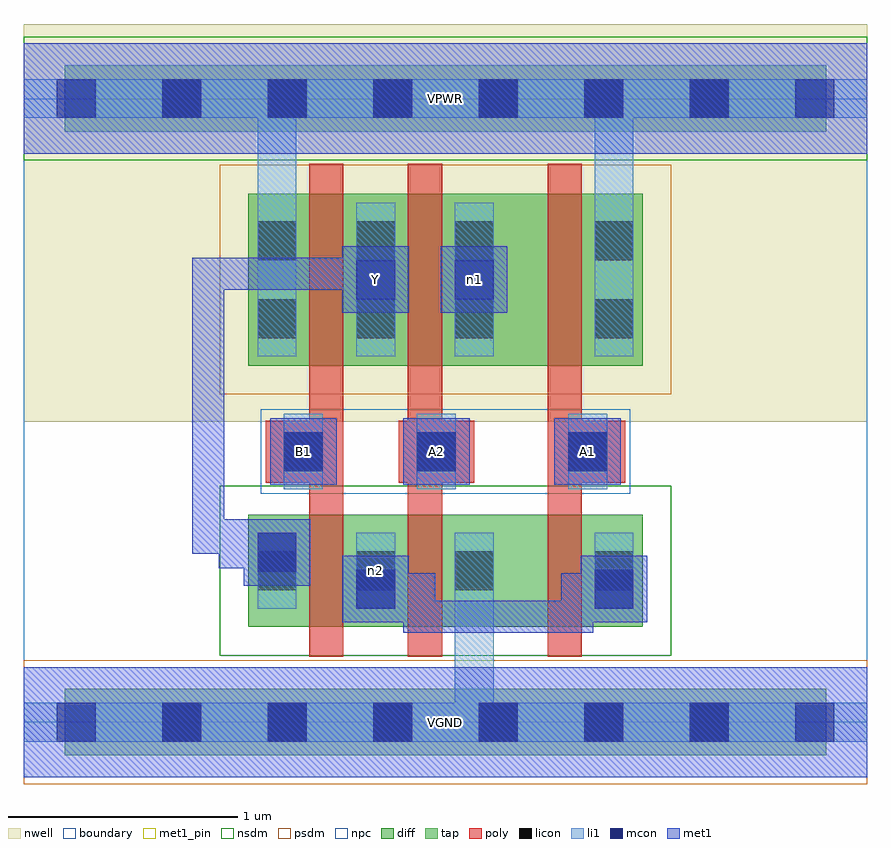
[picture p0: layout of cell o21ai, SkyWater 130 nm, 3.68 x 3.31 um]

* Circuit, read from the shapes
.subckt o21ai A1 A2 B1 VGND VPWR Y n1 n2
XM1 n2 B1 Y VGND sky130_fd_pr__nfet_01v8 w=0.49 l=0.15
XM2 VGND A2 n2 VGND sky130_fd_pr__nfet_01v8 w=0.49 l=0.15
XM3 n2 A1 VGND VGND sky130_fd_pr__nfet_01v8 w=0.49 l=0.15
XM4 Y B1 VPWR VPWR sky130_fd_pr__pfet_01v8 w=0.75 l=0.15
XM5 n1 A2 Y VPWR sky130_fd_pr__pfet_01v8 w=0.75 l=0.15
XM6 VPWR A1 n1 VPWR sky130_fd_pr__pfet_01v8 w=0.75 l=0.15
.ends

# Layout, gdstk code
import gdstk
lib = gdstk.Library(unit=1e-6, precision=1e-09)
def R(c, l, rs):  # rectangles x0, y0, x1, y1
    for r in rs: c.add(gdstk.rectangle(r[:2], r[2:], *l))
def A(c, l, x, y, w, h, nx, ny, dx, dy):  # array of equal rectangles
    R(c, l, [(x+i*dx, y+j*dy, x+i*dx+w, y+j*dy+h) for i in range(nx) for j in range(ny)])
nwell = (64, 20)
diff = (65, 20)
tap = (65, 44)
poly = (66, 20)
licon = (66, 44)
li1 = (67, 20)
mcon = (67, 44)
met1_pin = (68, 16)
met1 = (68, 20)
nsdm = (93, 44)
psdm = (94, 20)
npc = (95, 20)
boundary = (235, 4)

o21ai = lib.new_cell('o21ai')
R(o21ai, nwell, [(0,1.31,3.68,3.045)])
R(o21ai, diff, [(0.98,0.415,2.7,0.905), (0.98,1.555,2.7,2.305)])
R(o21ai, tap, [(0.18,-0.145,3.5,0.145), (0.18,2.575,3.5,2.865)])
R(o21ai, poly, [(1.245,0.285,1.395,2.435), (1.675,0.285,1.825,2.435), (2.285,0.285,2.435,2.435), (1.055,1.045,1.385,1.315), (1.635,1.045,1.965,1.315), (2.295,1.045,2.625,1.315)])
A(o21ai, licon, 0.605, -0.085, 0.17, 0.17, 6, 2, 0.46, 2.72)
A(o21ai, licon, 1.02, 0.575, 0.17, 0.17, 3, 2, 0.43, 1.1)
A(o21ai, licon, 1.02, 2.015, 0.17, 0.17, 3, 1, 0.43, 0)
R(o21ai, licon, [(2.49,0.575,2.66,0.745), (1.135,1.095,1.305,1.265), (1.715,1.095,1.885,1.265), (2.375,1.095,2.545,1.265), (2.49,1.675,2.66,1.845), (2.49,2.015,2.66,2.185)])
A(o21ai, li1, 1.02, 0.495, 0.17, 0.33, 3, 1, 0.43, 0)
A(o21ai, li1, 1.02, 1.595, 0.17, 0.67, 3, 1, 0.43, 0)
R(o21ai, li1, [(0,-0.085,3.68,0.085), (1.88,-0.085,2.05,0.825), (2.49,0.495,2.66,0.825), (1.135,1.015,1.305,1.345), (1.715,1.015,1.885,1.345), (2.375,1.015,2.545,1.345), (1.02,1.595,1.19,2.805), (2.49,1.595,2.66,2.265), (2.49,1.595,2.66,2.805), (0,2.635,3.68,2.805)])
A(o21ai, mcon, 0.145, -0.085, 0.17, 0.17, 8, 2, 0.46, 2.72)
R(o21ai, mcon, [(1.45,0.495,1.62,0.665), (2.49,0.495,2.66,0.665), (1.02,0.655,1.19,0.825), (1.135,1.095,1.305,1.265), (1.715,1.095,1.885,1.265), (2.375,1.095,2.545,1.265), (1.45,1.845,1.62,2.015), (1.88,1.845,2.05,2.015)])
R(o21ai, met1_pin, [(0,-0.24,3.68,0.24), (1.075,1.035,1.365,1.325), (1.655,1.035,1.945,1.325), (2.315,1.035,2.605,1.325), (1.39,1.785,1.68,2.075), (0,2.48,3.68,2.96)])
R(o21ai, met1, [(0,-0.24,3.68,0.24), (1.655,0.39,2.485,0.53), (1.655,0.39,1.795,0.65), (2.345,0.39,2.485,0.65), (1.39,0.435,1.68,0.725), (2.43,0.435,2.72,0.725), (1.465,0.51,1.795,0.65), (2.345,0.51,2.645,0.65), (0.96,0.595,1.25,0.885), (0.85,0.67,1.175,0.81), (0.85,0.67,0.99,0.875), (0.735,0.735,0.875,2.025), (0.735,0.735,0.99,0.875), (0.875,0.735,0.96,0.885), (0.875,0.735,0.96,0.885), (0.875,0.735,0.96,0.885), (0.875,0.735,0.96,0.885), (0.875,0.735,0.96,0.885), (0.875,0.735,0.96,0.885), (1.075,1.035,1.365,1.325), (1.655,1.035,1.945,1.325), (2.315,1.035,2.605,1.325), (1.39,1.785,1.68,2.075), (1.82,1.785,2.11,2.075), (0.735,1.885,1.565,2.025), (1.425,1.885,1.565,2.025), (0,2.48,3.68,2.96)])
R(o21ai, nsdm, [(0.855,0.29,2.825,1.03), (0,2.45,3.68,2.99)])
R(o21ai, psdm, [(0,-0.27,3.68,0.27), (0.855,1.43,2.825,2.43)])
R(o21ai, npc, [(1.035,0.995,2.645,1.365)])
R(o21ai, boundary, [(0,0,3.68,2.72)])
o21ai.add(gdstk.Label('n2', (1.535,0.66), layer=67, texttype=5))
o21ai.add(gdstk.Label('n1', (1.965,1.93), layer=67, texttype=5))
o21ai.add(gdstk.Label('A1', (2.46,1.18), layer=68, texttype=5))
o21ai.add(gdstk.Label('A2', (1.8,1.18), layer=68, texttype=5))
o21ai.add(gdstk.Label('B1', (1.22,1.18), layer=68, texttype=5))
o21ai.add(gdstk.Label('Y', (1.535,1.93), layer=68, texttype=5))
o21ai.add(gdstk.Label('VPWR', (1.84,2.72), layer=68, texttype=5))
o21ai.add(gdstk.Label('VGND', (1.84,0), layer=68, texttype=5))
o21ai.add(gdstk.Label('A1', (2.46,1.18), layer=68, texttype=16))
o21ai.add(gdstk.Label('A2', (1.8,1.18), layer=68, texttype=16))
o21ai.add(gdstk.Label('B1', (1.22,1.18), layer=68, texttype=16))
o21ai.add(gdstk.Label('Y', (1.535,1.93), layer=68, texttype=16))
o21ai.add(gdstk.Label('VPWR', (1.84,2.72), layer=68, texttype=16))
o21ai.add(gdstk.Label('VGND', (1.84,0), layer=68, texttype=16))

lib.write_gds('o21ai.gds')
